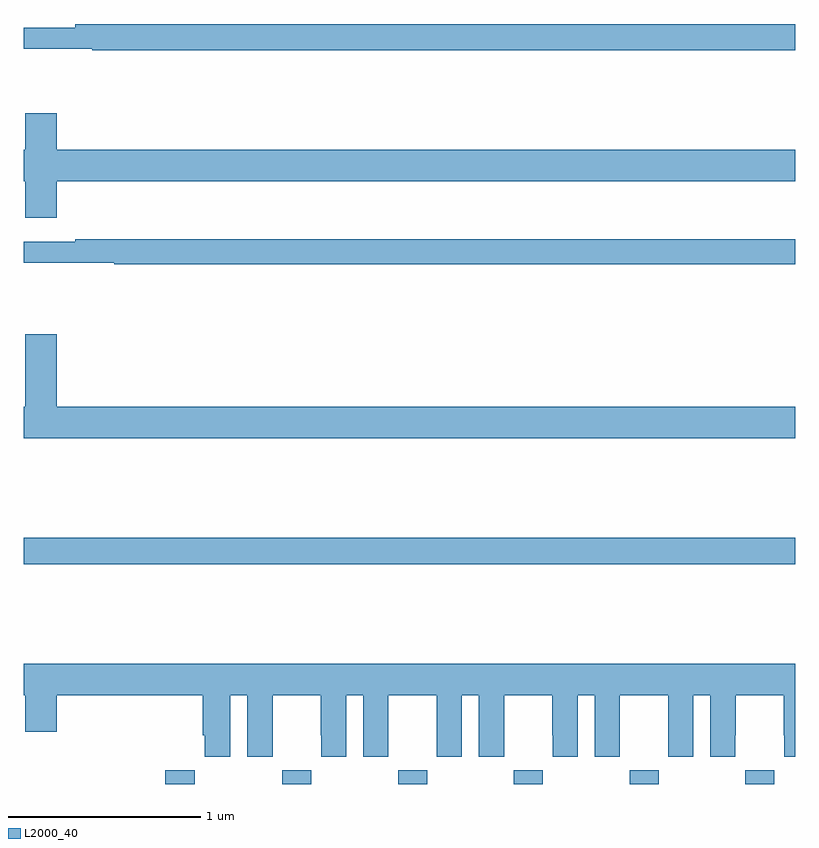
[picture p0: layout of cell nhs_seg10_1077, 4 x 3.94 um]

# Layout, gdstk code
import gdstk
lib = gdstk.Library(unit=1e-6, precision=1e-09)
def R(c, l, rs):  # rectangles x0, y0, x1, y1
    for r in rs: c.add(gdstk.rectangle(r[:2], r[2:], *l))
def A(c, l, x, y, w, h, nx, ny, dx, dy):  # array of equal rectangles
    R(c, l, [(x+i*dx, y+j*dy, x+i*dx+w, y+j*dy+h) for i in range(nx) for j in range(ny)])
def P(c, l, *ps):  # polygons
    for p in ps: c.add(gdstk.Polygon(p, *l))
L2000_40 = (2000, 40)

nhs_seg10_1077 = lib.new_cell('nhs_seg10_1077')
A(nhs_seg10_1077, L2000_40, 166.341, 1322.5, 0.15, 0.072, 5, 1, 0.6, 0)
R(nhs_seg10_1077, L2000_40, [(165.734,1322.5,165.887,1322.572), (165,1323.64,169,1323.776)])
P(nhs_seg10_1077, L2000_40, [(169,1326.44),(165.268,1326.44),(165.268,1326.421),(165,1326.421),(165,1326.312),(165.355,1326.312),(165.355,1326.304),(169,1326.304)],
  [(165.172,1325.624),(169,1325.624),(169,1325.788),(165.172,1325.788),(165.172,1325.977),(165.008,1325.977),(165.008,1325.788),(165,1325.788),(165,1325.624),(165.008,1325.624),(165.008,1325.436),(165.172,1325.436)],
  [(169,1325.323),(165.268,1325.323),(165.268,1325.31),(165,1325.31),(165,1325.202),(165.47,1325.202),(165.47,1325.194),(169,1325.194)],
  [(169,1324.456),(165.172,1324.456),(165.172,1324.831),(165.008,1324.831),(165.008,1324.456),(165,1324.456),(165,1324.292),(169,1324.292)],
  [(166.072,1322.96),(166.16,1322.96),(166.16,1322.64),(166.29,1322.64),(166.29,1322.752),(166.291,1322.752),(166.291,1322.96),(166.541,1322.96),(166.541,1322.752),(166.542,1322.752),(166.542,1322.64),(166.672,1322.64),(166.672,1322.96),(166.76,1322.96),(166.76,1322.64),(166.89,1322.64),(166.89,1322.752),(166.891,1322.752),(166.891,1322.96),(167.141,1322.96),(167.141,1322.752),(167.142,1322.752),(167.142,1322.64),(167.272,1322.64),(167.272,1322.96),(167.36,1322.96),(167.36,1322.64),(167.49,1322.64),(167.49,1322.752),(167.491,1322.752),(167.491,1322.96),(167.741,1322.96),(167.741,1322.752),(167.742,1322.752),(167.742,1322.64),(167.872,1322.64),(167.872,1322.96),(167.96,1322.96),(167.96,1322.64),(168.09,1322.64),(168.09,1322.752),(168.091,1322.752),(168.091,1322.96),(168.341,1322.96),(168.341,1322.752),(168.342,1322.752),(168.342,1322.64),(168.472,1322.64),(168.472,1322.96),(168.56,1322.96),(168.56,1322.64),(168.69,1322.64),(168.69,1322.752),(168.691,1322.752),(168.691,1322.96),(168.941,1322.96),(168.941,1322.752),(168.942,1322.752),(168.942,1322.64),(169,1322.64),(169,1323.124),(165,1323.124),(165,1322.96),(165.008,1322.96),(165.008,1322.772),(165.172,1322.772),(165.172,1322.96),(165.929,1322.96),(165.929,1322.752),(165.938,1322.752),(165.938,1322.64),(166.072,1322.64)])

lib.write_gds('nhs_seg10_1077.gds')
